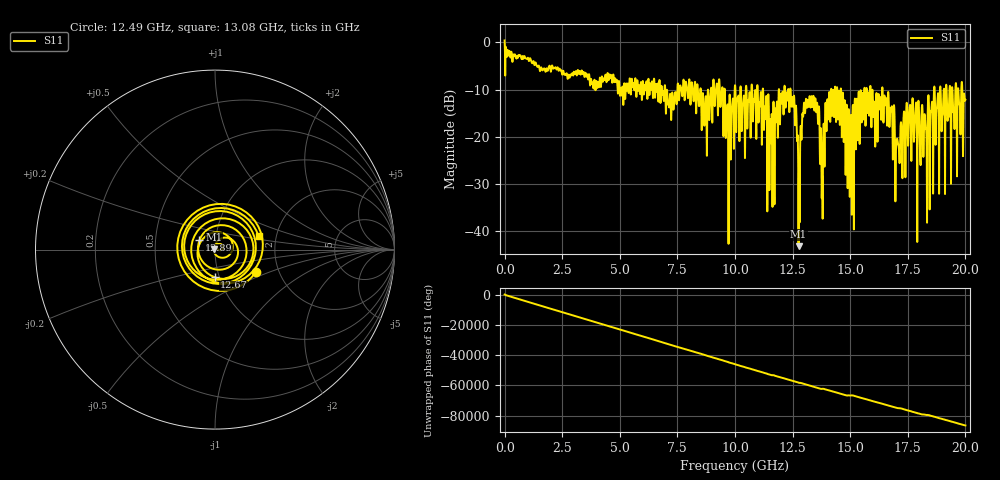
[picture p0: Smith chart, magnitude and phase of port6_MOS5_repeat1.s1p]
! MS46122B
! 2250307/22442219
! 7/22/2025 3:27:23 PM
! C:\USERS\SPARKY\DOCUMENTS\VNA_DATA\JULY22_2025\295\PORT6_MOS5_REPEAT1.S1P
! CHANNEL.1
! TR.MEASUREMENT
! RAW.DATA
# GHZ S RI R 50.0
! FREQ.GHZ  S11RE  S11IM
!; PortSelection: Port_1
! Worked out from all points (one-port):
!   10001 points, 1 MHz to 20 GHz, reference 50 ohm
!   lowest |S11| = -43.1 dB at 12.76 GHz (marker M1), VSWR 1.01, Z = 49.4 + j0.375 ohm
!   |S11| at or under -10 dB: 12.41 GHz to 14.17 GHz (1.759 GHz wide, 13.2 % of centre); 14.6 GHz to 15.61 GHz (1.01 GHz wide, 6.69 % of centre); 16.41 GHz to 18.64 GHz (2.232 GHz wide, 12.7 % of centre) (the widest 3 of 69)
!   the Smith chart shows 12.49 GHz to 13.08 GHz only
!   S11 on the Smith chart (normalised r, x): 12.49 GHz: 1.52, -0.41; 12.67 GHz: 0.95, -0.30; 12.89 GHz: 0.84, +0.09; 13.08 GHz: 1.61, +0.26
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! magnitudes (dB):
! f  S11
! 1 MHz  0.4
! 2.501 GHz  -6.8
! 5.001 GHz  -11.1
! 7.501 GHz  -9.7
! 9.249 GHz  -13.3
! 9.665 GHz  -13.6
! 10 GHz  -9.1
! 11.04 GHz  -13.2
! 11.57 GHz  -19.5
! 11.98 GHz  -11.3
! 12.49 GHz  -11.7
! 12.5 GHz  -12.2
! 12.67 GHz  -16.3
! 12.76 GHz  -43.1
! 12.89 GHz  -19.9
! 13.08 GHz  -11.9
! 13.56 GHz  -12.8
! 13.79 GHz  -28.3
! 14.01 GHz  -12.2
! 14.26 GHz  -10.0
! 15 GHz  -19.6
! 15.79 GHz  -10.6
! 16.72 GHz  -14.9
! 17.05 GHz  -20.5
! 17.5 GHz  -19.5
! 18.26 GHz  -17.0
! 18.73 GHz  -16.0
! 20 GHz  -12.1
